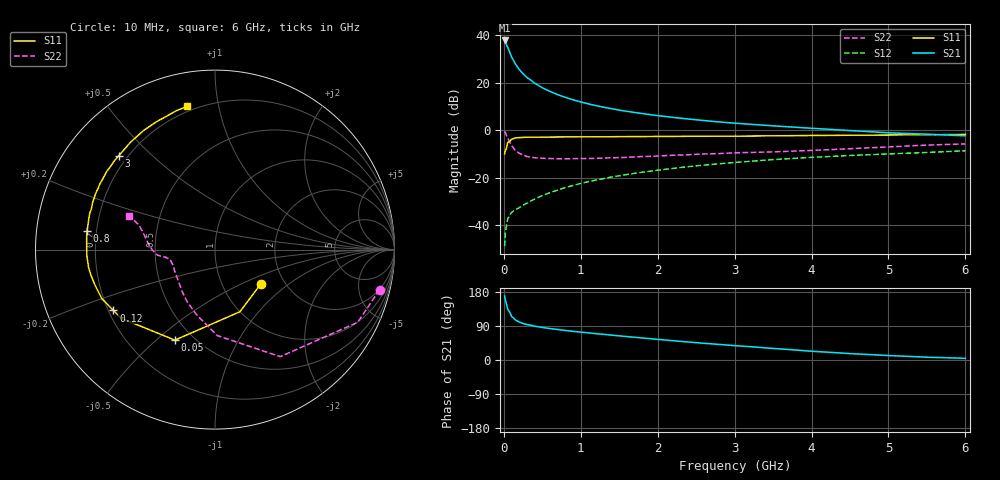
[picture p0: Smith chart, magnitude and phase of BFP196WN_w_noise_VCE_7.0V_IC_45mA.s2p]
! (c) 2017  Infineon Technologies AG, Munich
! Infineon Technologies  Discrete & RF Semiconductors
! BFP196WN
! VCE =  7.0 V,  IC =  45 mA
! Common Emitter S-Parameters:  Jan 2017
# GHz  S  MA  R  50
!  f  S11  S21  S12  S22
! GHz  MAG  ANG  MAG  ANG  MAG  ANG  MAG  ANG
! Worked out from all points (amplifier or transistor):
!   77 points, 10 MHz to 6 GHz, reference 50 ohm
!   highest |S21| = 37.8 dB at 10 MHz (marker M1)
!   |S21| within 3 dB of that: start of sweep to 51.17 MHz
!   unconditionally stable (mu >= 1): 665.6 MHz to 2.666 GHz
!   at 130 MHz: K = 0.51, MSG = 31.6 dB, |S12| = -33.9 dB
!   at 2.2 GHz: K = 1.02, MAG = 9.8 dB, |S12| = -16.1 dB
!   at 6 GHz: K = 0.90, MSG = 3.1 dB, |S12| = -8.7 dB
!   lowest NFmin = 1.22 dB at 450 MHz
!   S11 on the Smith chart (normalised r, x): 10 MHz: 1.52, -0.65; 50 MHz: 0.40, -0.58; 120 MHz: 0.22, -0.26; 800 MHz: 0.16, +0.07; 3 GHz: 0.17, +0.40; 6 GHz: 0.17, +0.81
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0.01  0.3189 -37.0  77.67 168.9  0.0036 75.5  0.9438 -13.7
0.02  0.373 -68.1  72.15 157.5  0.0069 78.9  0.8923 -27.0
0.05  0.5517 -113.9  55.53 133.9  0.0134 53.6  0.6987 -58.6
0.1  0.6478 -143.8  34.9 114.7  0.0185 48.8  0.4788 -88.6
0.12  0.6596 -149.1  30.78 111.8  0.0196 48.6  0.4319 -94.7
0.15  0.6874 -156.6  24.81 105.7  0.0212 48.3  0.3737 -106.6
0.2  0.6976 -163.7  19 100.2  0.0232 50.3  0.3261 -119.0
0.25  0.7055 -168.3  15.38 96.4  0.0263 53.3  0.2984 -127.4
0.3  0.7112 -171.8  12.9 93.6  0.0289 54.8  0.279 -134.5
0.4  0.7144 -176.9  9.773 89.2  0.0353 60.1  0.2625 -143.6
0.5  0.715 179.5  7.832 85.9  0.0418 62.4  0.2558 -150.0
0.6  0.7161 176.6  6.545 83.0  0.0483 64.1  0.2527 -154.7
0.7  0.7187 174.1  5.609 80.5  0.0547 66.0  0.2487 -157.9
0.8  0.721 171.6  4.912 77.9  0.0621 67.0  0.2494 -160.0
1.1  0.7245 165.5  3.582 71.6  0.0824 67.4  0.2533 -165.3
1.5  0.7309 158.7  2.649 63.7  0.1093 66.4  0.2643 -169.2
2.1  0.7385 149.0  1.943 52.7  0.1502 63.2  0.291 -172.2
3  0.749 135.6  1.404 37.9  0.2086 56.6  0.3332 -176.1
3.1  0.7504 134.1  1.369 36.6  0.2148 55.7  0.3363 -176.8
4.1  0.7749 119.7  1.073 21.9  0.2725 47.5  0.3805 173.2
5.1  0.7934 108.8  0.87 10.9  0.3202 40.0  0.4518 161.8
6  0.8131 100.9  0.76 4.4  0.3681 34.1  0.5144 158.8
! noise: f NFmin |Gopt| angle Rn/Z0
0.45  1.22  0.52  -178  0.05
0.9  1.34  0.55  -172  0.05
1.9  2.26  0.68  -148  0.14
2.4  2.99  0.69  -141  0.27
